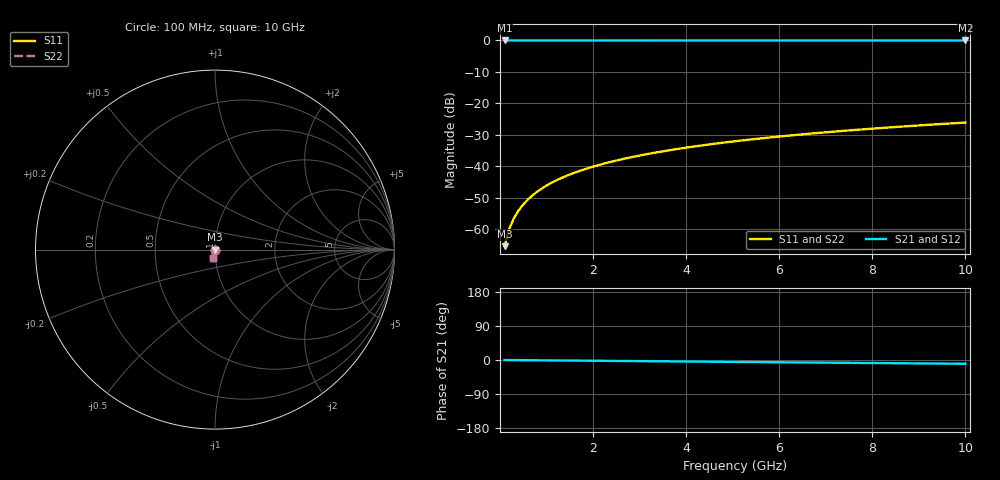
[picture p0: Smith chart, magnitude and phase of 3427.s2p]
# Hz S RI R 50.00
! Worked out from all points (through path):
!   100 points, 100 MHz to 10 GHz, reference 50 ohm
!   highest |S21| = 0.00 dB at 100 MHz (marker M1); lowest = 0.0 dB at 10 GHz (marker M2)
!   group delay of S21, straight-line fit = 2.77 ps
!   lowest |S11| = -65.4 dB at 100 MHz (marker M3), VSWR 1.00, Z = 50 - j0.0491 ohm
!   |S11| at or under -10 dB: start of sweep to end of sweep
!   |S22| runs from -65.4 to -26.1 dB; largest |S21 - S12| = 0
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1e8  0.000212 -0.000491  0.9998 -0.00172  0.9998 -0.00172  0.000212 -0.000491
2e8  0.00021 -0.000981  0.9998 -0.00344  0.9998 -0.00344  0.00021 -0.000981
3e8  0.000205 -0.00147  0.9998 -0.00516  0.9998 -0.00516  0.000205 -0.00147
4e8  0.000199 -0.00196  0.9998 -0.00689  0.9998 -0.00689  0.000199 -0.00196
5e8  0.000191 -0.00245  0.9997 -0.00861  0.9997 -0.00861  0.000191 -0.00245
6e8  0.000182 -0.00294  0.9997 -0.0103  0.9997 -0.0103  0.000182 -0.00294
7e8  0.00017 -0.00344  0.9997 -0.0121  0.9997 -0.0121  0.00017 -0.00344
8e8  0.000157 -0.00393  0.9997 -0.0138  0.9997 -0.0138  0.000157 -0.00393
9e8  0.000142 -0.00442  0.9996 -0.0155  0.9996 -0.0155  0.000142 -0.00442
1.1e9  0.000107 -0.0054  0.9996 -0.0189  0.9996 -0.0189  0.000107 -0.0054
1.4e9  4.19e-05 -0.00688  0.9994 -0.0241  0.9994 -0.0241  4.19e-05 -0.00688
1.8e9  -6.93e-05 -0.00884  0.9992 -0.031  0.9992 -0.031  -6.93e-05 -0.00884
2.1e9  -0.000171 -0.0103  0.999 -0.0362  0.999 -0.0362  -0.000171 -0.0103
2.5e9  -0.00033 -0.0123  0.9987 -0.0431  0.9987 -0.0431  -0.00033 -0.0123
2.9e9  -0.000517 -0.0143  0.9984 -0.05  0.9984 -0.05  -0.000517 -0.0143
3.4e9  -0.000789 -0.0167  0.9979 -0.0586  0.9979 -0.0586  -0.000789 -0.0167
4.2e9  -0.00131 -0.0207  0.9969 -0.0725  0.9969 -0.0725  -0.00131 -0.0207
5.1e9  -0.00204 -0.0251  0.9955 -0.0881  0.9955 -0.0881  -0.00204 -0.0251
5.9e9  -0.0028 -0.029  0.9941 -0.1019  0.9941 -0.1019  -0.0028 -0.029
6.7e9  -0.00367 -0.0329  0.9924 -0.1158  0.9924 -0.1158  -0.00367 -0.0329
8.4e9  -0.00589 -0.0411  0.9882 -0.1453  0.9882 -0.1453  -0.00589 -0.0411
1e10  -0.00842 -0.0487  0.9833 -0.173  0.9833 -0.173  -0.00842 -0.0487
